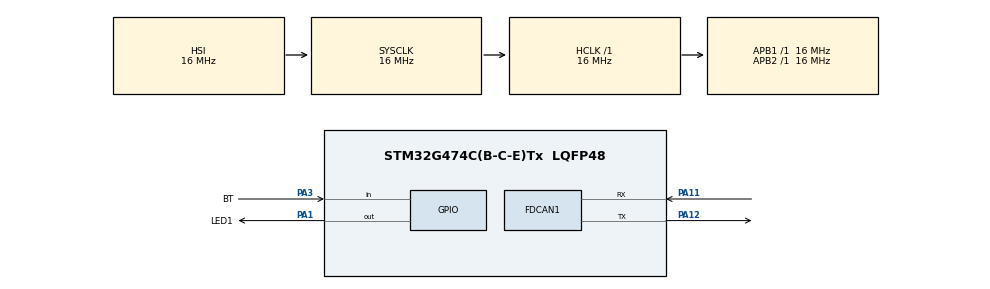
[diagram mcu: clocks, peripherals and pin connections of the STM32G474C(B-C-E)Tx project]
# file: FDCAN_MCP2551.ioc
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Mcu.Family=STM32G4
Mcu.Name=STM32G474C(B-C-E)Tx
Mcu.Package=LQFP48
NVIC.FDCAN1_IT0_IRQn=true\:0\:0\:false\:false\:true\:true\:true
NVIC.FDCAN1_IT1_IRQn=true\:0\:0\:false\:false\:true\:true\:true
NVIC.PriorityGroup=NVIC_PRIORITYGROUP_4
PA1.GPIO_Label=LED1
PA1.Signal=GPIO_Output
PA11.Mode=FDCAN_Activate
PA11.Signal=FDCAN1_RX
PA12.Mode=FDCAN_Activate
PA12.Signal=FDCAN1_TX
PA3.GPIO_Label=BT
PA3.Signal=GPIO_Input
ProjectManager.HeapSize=0x200
ProjectManager.StackSize=0x400
ProjectManager.TargetToolchain=STM32CubeIDE
RCC.AHBFreq_Value=16000000
RCC.APB1Freq_Value=16000000
RCC.APB1TimFreq_Value=16000000
RCC.APB2Freq_Value=16000000
RCC.APB2TimFreq_Value=16000000
RCC.CortexFreq_Value=16000000
RCC.EXTERNAL_CLOCK_VALUE=12288000
RCC.HCLKFreq_Value=16000000
RCC.HSE_VALUE=8000000
RCC.HSI48_VALUE=48000000
RCC.HSI_VALUE=16000000
RCC.LSE_VALUE=32768
RCC.SYSCLKFreq_VALUE=16000000
RCC.USBFreq_Value=64000000
RCC.VCOOutputFreq_Value=128000000
VP_SYS_VS_DBSignals.Mode=DisableDeadBatterySignals
board=custom

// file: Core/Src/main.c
/* USER CODE BEGIN Header */
/**
  ******************************************************************************
  * @file           : main.c
  * @brief          : Main program body
  ******************************************************************************
  * @attention
  *
  * <h2><center>&copy; Copyright (c) 2021 STMicroelectronics.
  * All rights reserved.</center></h2>
  *
  * This software component is licensed by ST under BSD 3-Clause license,
  * the "License"; You may not use this file except in compliance with the
  * License. You may obtain a copy of the License at:
  *                        opensource.org/licenses/BSD-3-Clause
  *
  ******************************************************************************
  */
/* USER CODE END Header */
#include "main.h"

FDCAN_HandleTypeDef hfdcan1;

/* USER CODE BEGIN PV */

FDCAN_RxHeaderTypeDef RxHeader;
FDCAN_TxHeaderTypeDef TxHeader;

uint8_t RxData;
uint8_t TxData;
uint32_t Notification_flag = 0;
uint32_t Transmission_flag = 0;

/* USER CODE END PV */

void SystemClock_Config(void);
static void MX_GPIO_Init(void);
static void MX_FDCAN1_Init(void);

int main(void)
{

  /* MCU Configuration--------------------------------------------------------*/

  /* Reset of all peripherals, Initializes the Flash interface and the Systick. */
  HAL_Init();

  /* Configure the system clock */
  SystemClock_Config();

  /* Initialize all configured peripherals */
  MX_GPIO_Init();
  MX_FDCAN1_Init();

  /* Infinite loop */
  while (1)
  {

    /* USER CODE BEGIN 3 */

	if (Transmission_flag == 1)
	{
		//lógica para transmitir a informação;
		if(TxData == 0x00)
		{
			TxData = 0x01;
			HAL_FDCAN_AddMessageToTxFifoQ(&hfdcan1, &TxHeader, &TxData);
		}
		else
		{
			TxData = 0x00;
			HAL_FDCAN_AddMessageToTxFifoQ(&hfdcan1, &TxHeader, &TxData);
		}

		Transmission_flag=0;
	}

	if (Notification_flag == 1)
	{
		//recebe msg RX
		HAL_FDCAN_GetRxMessage(&hfdcan1, FDCAN_RX_FIFO0, &RxHeader, &RxData);

		if(RxData == 0x00)
		{
			HAL_GPIO_WritePin(LED1_GPIO_Port, LED1_Pin, 0);
		}
		if(RxData == 0x01)
		{
			HAL_GPIO_WritePin(LED1_GPIO_Port, LED1_Pin, 1);
		}
		Notification_flag=0;
	}

  }
  /* USER CODE END 3 */
}

void SystemClock_Config(void)
{
  RCC_OscInitTypeDef RCC_OscInitStruct = {0};
  RCC_ClkInitTypeDef RCC_ClkInitStruct = {0};
  RCC_PeriphCLKInitTypeDef PeriphClkInit = {0};

  /** Configure the main internal regulator output voltage
  */
  HAL_PWREx_ControlVoltageScaling(PWR_REGULATOR_VOLTAGE_SCALE1);
  /** Initializes the RCC Oscillators according to the specified parameters
  * in the RCC_OscInitTypeDef structure.
  */
  RCC_OscInitStruct.OscillatorType = RCC_OSCILLATORTYPE_HSI;
  RCC_OscInitStruct.HSIState = RCC_HSI_ON;
  RCC_OscInitStruct.HSICalibrationValue = RCC_HSICALIBRATION_DEFAULT;
  RCC_OscInitStruct.PLL.PLLState = RCC_PLL_NONE;
  if (HAL_RCC_OscConfig(&RCC_OscInitStruct) != HAL_OK)
  {
    Error_Handler();
  }
  /** Initializes the CPU, AHB and APB buses clocks
  */
  RCC_ClkInitStruct.ClockType = RCC_CLOCKTYPE_HCLK|RCC_CLOCKTYPE_SYSCLK
                              |RCC_CLOCKTYPE_PCLK1|RCC_CLOCKTYPE_PCLK2;
  RCC_ClkInitStruct.SYSCLKSource = RCC_SYSCLKSOURCE_HSI;
  RCC_ClkInitStruct.AHBCLKDivider = RCC_SYSCLK_DIV1;
  RCC_ClkInitStruct.APB1CLKDivider = RCC_HCLK_DIV1;
  RCC_ClkInitStruct.APB2CLKDivider = RCC_HCLK_DIV1;

  if (HAL_RCC_ClockConfig(&RCC_ClkInitStruct, FLASH_LATENCY_0) != HAL_OK)
  {
    Error_Handler();
  }
  /** Initializes the peripherals clocks
  */
  PeriphClkInit.PeriphClockSelection = RCC_PERIPHCLK_FDCAN;
  PeriphClkInit.FdcanClockSelection = RCC_FDCANCLKSOURCE_PCLK1;
  if (HAL_RCCEx_PeriphCLKConfig(&PeriphClkInit) != HAL_OK)
  {
    Error_Handler();
  }
}

static void MX_FDCAN1_Init(void)
{

  hfdcan1.Instance = FDCAN1;
  hfdcan1.Init.ClockDivider = FDCAN_CLOCK_DIV1;
  hfdcan1.Init.FrameFormat = FDCAN_FRAME_CLASSIC;
  hfdcan1.Init.Mode = FDCAN_MODE_NORMAL;
  hfdcan1.Init.AutoRetransmission = DISABLE;
  hfdcan1.Init.TransmitPause = DISABLE;
  hfdcan1.Init.ProtocolException = DISABLE;
  hfdcan1.Init.NominalPrescaler = 1;
  hfdcan1.Init.NominalSyncJumpWidth = 1;
  hfdcan1.Init.NominalTimeSeg1 = 2;
  hfdcan1.Init.NominalTimeSeg2 = 2;
  hfdcan1.Init.DataPrescaler = 1;
  hfdcan1.Init.DataSyncJumpWidth = 1;
  hfdcan1.Init.DataTimeSeg1 = 1;
  hfdcan1.Init.DataTimeSeg2 = 1;
  hfdcan1.Init.StdFiltersNbr = 0;
  hfdcan1.Init.ExtFiltersNbr = 0;
  hfdcan1.Init.TxFifoQueueMode = FDCAN_TX_FIFO_OPERATION;
  if (HAL_FDCAN_Init(&hfdcan1) != HAL_OK)
  {
    Error_Handler();
  }

}

static void MX_GPIO_Init(void)
{
  GPIO_InitTypeDef GPIO_InitStruct = {0};

  /* GPIO Ports Clock Enable */
  __HAL_RCC_GPIOA_CLK_ENABLE();

  /*Configure GPIO pin Output Level */
  HAL_GPIO_WritePin(LED1_GPIO_Port, LED1_Pin, GPIO_PIN_RESET);

  /*Configure GPIO pin : LED1_Pin */
  GPIO_InitStruct.Pin = LED1_Pin;
  GPIO_InitStruct.Mode = GPIO_MODE_OUTPUT_PP;
  GPIO_InitStruct.Pull = GPIO_NOPULL;
  GPIO_InitStruct.Speed = GPIO_SPEED_FREQ_LOW;
  HAL_GPIO_Init(LED1_GPIO_Port, &GPIO_InitStruct);

  /*Configure GPIO pin : BT_Pin */
  GPIO_InitStruct.Pin = BT_Pin;
  GPIO_InitStruct.Mode = GPIO_MODE_INPUT;
  GPIO_InitStruct.Pull = GPIO_NOPULL;
  HAL_GPIO_Init(BT_GPIO_Port, &GPIO_InitStruct);

}

/* USER CODE BEGIN 4 */

//interrupção FDCAN RX
void HAL_FDCAN_RxFifo0Callback(FDCAN_HandleTypeDef *hfdcan1, uint32_t RxFifo0ITs)
{
	if((RxFifo0ITs & FDCAN_IT_RX_FIFO0_NEW_MESSAGE) != 0)
	{
		Notification_flag = 1;
	}
}

//interrupção botão
void HAL_GPIO_EXTI_Callback(uint16_t GPIO_Pin)
{
	if(GPIO_Pin == BT_Pin)
	{
		Transmission_flag=1;
	}
}

/* USER CODE END 4 */

void Error_Handler(void)
{
  __disable_irq();
  while (1)
  {
  }
}

/************************ (C) COPYRIGHT STMicroelectronics *****END OF FILE****/
